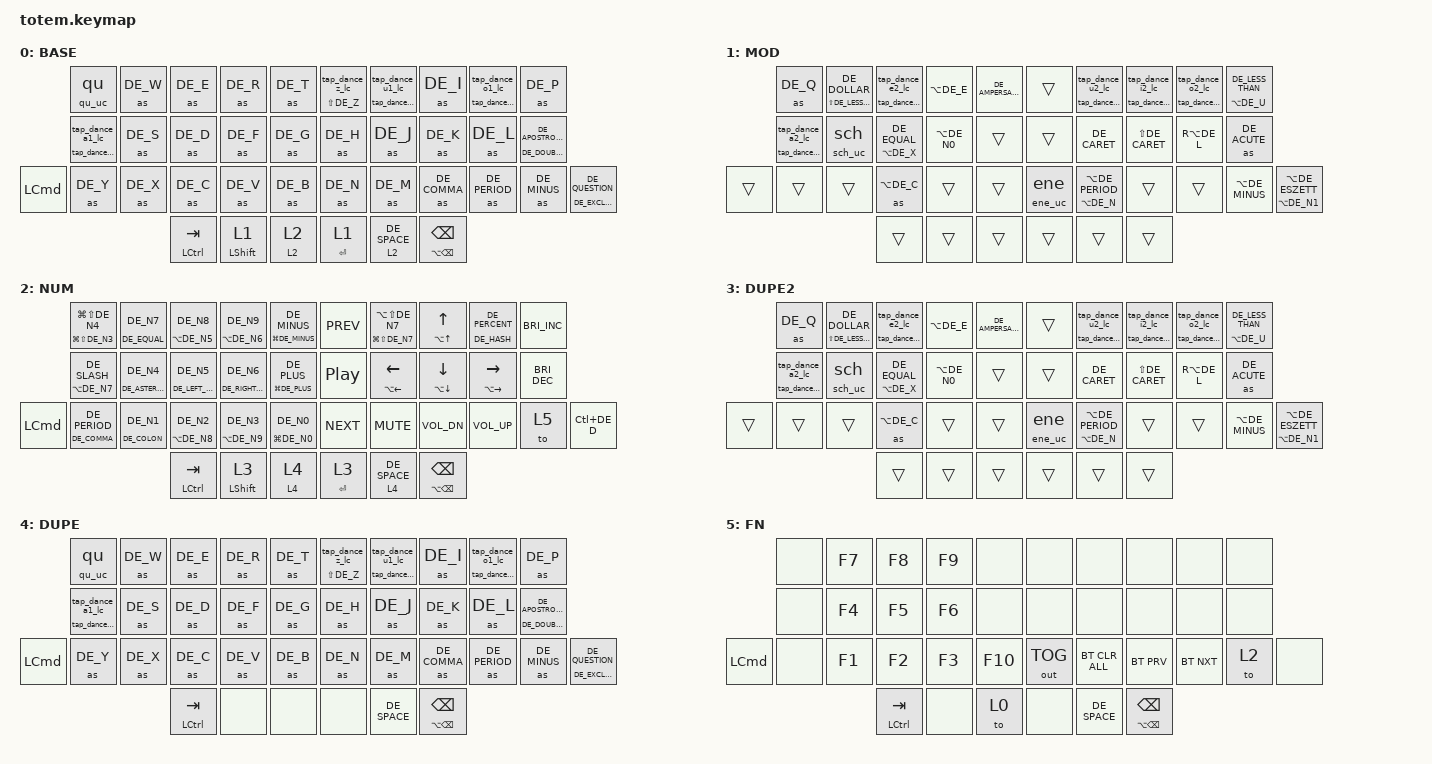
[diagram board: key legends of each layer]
//
//                                                        ▀▀▀▀▀     ▀▀▀▀▀          ▀▀█▀▀
//                                                        ▄▀▀▀▄  ▄  ▄▀▀▀▄  ▄  ▄▀▀▀▄  █  ▄▀▀▀▄
//                                                        █   █  █  █   █  █  █   █  █  █   █
//                                                         ▀▀▀   █   ▀▀▀   █   ▀▀▀   ▀   ▀▀▀
//                                                               █      ▄▄▄█▄▄▄    █   █  
//                                                               ▀      █  █  █     █▄█
//                                                             ▀▀▀▀▀    █  █  █      ▀
//                                                                      ▀  ▀  ▀
//
// ▄▄▄▄▄▄▄▄▄▄▄▄▄▄▄▄▄▄▄▄▄▄▄▄▄▄▄▄▄▄▄▄▄▄▄▄▄▄▄▄▄▄▄▄▄▄▄▄▄▄▄▄▄▄▄▄▄▄▄▄▄▄▄▄▄▄▄▄▄▄▄▄▄▄▄▄▄▄▄▄▄▄▄▄▄▄▄▄▄▄▄▄▄▄▄▄▄▄▄▄▄▄▄▄▄▄▄▄▄▄▄▄▄▄▄▄▄▄▄▄▄▄▄▄▄▄▄▄▄▄▄▄▄▄▄▄▄▄▄▄▄▄▄▄▄▄▄▄▄

#include "keys_de.h"
#include <behaviors.dtsi>
#include <dt-bindings/zmk/bt.h>
#include <dt-bindings/zmk/keys.h>
#include <dt-bindings/zmk/outputs.h>

#define BASE 0
#define NAV  1
#define SYM  2
#define ADJ  3
#define TVP1 4
#define TVP2 5

&mt {
    quick-tap-ms = <100>;
    global-quick-tap;
    flavor = "tap-preferred";
    tapping-term-ms = <170>;
};

/ {
    combos {
        compatible = "zmk,combos";

        escape {
            bindings = <&kp ESCAPE>;
            key-positions = <1 2 3>;
        };

        spotlight {
            bindings = <&kp LG(DE_SPACE)>;
            key-positions = <6 7 8>;
        };

        reload {
            bindings = <&kp LG(DE_R)>;
            key-positions = <32 33 34>;
        };

        control {
            bindings = <&kp LEFT_ALT>;
            key-positions = <11 12>;
        };

        numlayer {
            bindings = <&to 2>;
            key-positions = <22 23 24>;
        };

        homelayer {
            bindings = <&to 0>;
            key-positions = <11 12 13>;
        };

        capslock {
            bindings = <&caps_word>;
            key-positions = <35 36 37>;
        };

        undo {
            bindings = <&kp LG(DE_Z)>;
            key-positions = <16 17 18>;
        };

        redo {
            bindings = <&kp LG(LS(DE_Z))>;
            key-positions = <27 28 29>;
        };

        name {
            bindings = <&name>;
            key-positions = <26 7>;
        };

        id {
            bindings = <&id>;
            key-positions = <22 23>;
        };

        email {
            bindings = <&email>;
            key-positions = <26 18>;
        };

        emailsofa {
            bindings = <&emailsofa>;
            key-positions = <26 18 11>;
        };

        tq {
            bindings = <&tq>;
            key-positions = <0 1>;
        };

        autocite {
            bindings = <&autocite>;
            key-positions = <21 22>;
        };

        the {
            bindings = <&the_the_uc 0 0>;
            key-positions = <4 15>;
        };

        glsxtrlong {
            bindings = <&glsxtrlong>;
            key-positions = <14 18 11>;
        };

        and {
            bindings = <&and_and_uc 0 0>;
            key-positions = <10 26>;
        };

        und {
            bindings = <&und_und_uc 0 0>;
            key-positions = <6 26>;
        };

        copy {
            bindings = <&kp LG(DE_C)>;
            key-positions = <13 12>;
        };

        paste {
            bindings = <&mt LG(LA(LS(DE_V))) LG(DE_V)>;
            key-positions = <24 23>;
        };

        mfg {
            bindings = <&mfg>;
            key-positions = <13 27 14>;
        };

        lg {
            bindings = <&lg>;
            key-positions = <14 18>;
        };
    };

    behaviors {
        to_mo_layer: to_mo_layer {
            compatible = "zmk,behavior-hold-tap";
            label = "TO_MO_LAYER";
            bindings = <&mo>, <&to>;

            #binding-cells = <2>;
            tapping-term-ms = <200>;
            flavor = "balanced";
            hold-while-undecided;
        };

        as_ht: autoshift_hold_tap {
            compatible = "zmk,behavior-hold-tap";
            label = "AUTOSHIFT_HOLD_TAP";
            bindings = <&shift>, <&kp>;

            #binding-cells = <2>;
            tapping-term-ms = <170>;
            flavor = "tap-preferred";
            quick-tap-ms = <100>;
        };

        sticky_lay_kp: sticky_lay_kp {
            compatible = "zmk,behavior-hold-tap";
            label = "STICKY_LAY_KP";
            bindings = <&kp>, <&sl>;

            #binding-cells = <2>;
            tapping-term-ms = <170>;
            quick-tap-ms = <100>;
            flavor = "tap-preferred";
        };

        ene_ene: ene_ene {
            compatible = "zmk,behavior-hold-tap";
            label = "ENE_ENE";
            bindings = <&ene_uc>, <&ene>;

            #binding-cells = <2>;
            tapping-term-ms = <170>;
            quick-tap-ms = <100>;
            flavor = "tap-preferred";
        };

        diaeresis_diaeresis: diaeresis_diaeresis {
            compatible = "zmk,behavior-hold-tap";
            label = "DIAERESIS_DIAERESIS";
            bindings = <&kp>, <&diaereses>;

            #binding-cells = <2>;
            tapping-term-ms = <170>;
            quick-tap-ms = <100>;
            flavor = "tap-preferred";
        };

        qu_qu_uc: qu_qu_uc {
            compatible = "zmk,behavior-hold-tap";
            label = "QU_QU_UC";
            bindings = <&qu_uc>, <&qu>;

            #binding-cells = <2>;
            tapping-term-ms = <170>;
            quick-tap-ms = <100>;
            flavor = "tap-preferred";
        };

        sch_sch_uc: sch_sch_uc {
            compatible = "zmk,behavior-hold-tap";
            label = "SCH_SCH_UC";
            bindings = <&sch_uc>, <&sch>;

            #binding-cells = <2>;
            tapping-term-ms = <170>;
            quick-tap-ms = <100>;
            flavor = "tap-preferred";
        };

        ch_ch_uc: ch_ch_uc {
            compatible = "zmk,behavior-hold-tap";
            label = "CH_CH_UC";
            bindings = <&ch_uc>, <&ch>;

            #binding-cells = <2>;
            tapping-term-ms = <170>;
            quick-tap-ms = <100>;
            flavor = "tap-preferred";
        };

        the_the_uc: the_the_uc {
            compatible = "zmk,behavior-hold-tap";
            label = "THE_THE_UC";
            bindings = <&the_uc>, <&the>;

            #binding-cells = <2>;
            tapping-term-ms = <170>;
            quick-tap-ms = <100>;
            flavor = "tap-preferred";
        };

        and_and_uc: and_and_uc {
            compatible = "zmk,behavior-hold-tap";
            label = "AND_AND_UC";
            bindings = <&and_uc>, <&and>;

            #binding-cells = <2>;
            tapping-term-ms = <170>;
            quick-tap-ms = <100>;
            flavor = "tap-preferred";
        };

        und_und_uc: und_und_uc {
            compatible = "zmk,behavior-hold-tap";
            label = "UND_UND_UC";
            bindings = <&und_uc>, <&und>;

            #binding-cells = <2>;
            tapping-term-ms = <170>;
            quick-tap-ms = <100>;
            flavor = "tap-preferred";
        };

        kp_mo_layer: kp_mo_layer {
            compatible = "zmk,behavior-hold-tap";
            label = "KP_MO_LAYER";
            bindings = <&mo>, <&kp>;

            #binding-cells = <2>;
            tapping-term-ms = <170>;
            flavor = "tap-preferred";
            hold-while-undecided;
            quick-tap-ms = <100>;
        };

        tap_dance_u2_lc: tap_dance_u2_lc {
            compatible = "zmk,behavior-tap-dance";
            label = "TAP_DANCE_U2_LC";
            #binding-cells = <0>;
            bindings = <&u_acute_lc>, <&u_grave_lc>, <&u_circo_lc>;

            tapping-term-ms = <300>;
        };

        sticky_lay_mo_lay: sticky_lay_mo_lay {
            compatible = "zmk,behavior-hold-tap";
            label = "STICKY_LAY_MO_LAY";
            bindings = <&mo>, <&sl>;

            #binding-cells = <2>;
            tapping-term-ms = <170>;
            quick-tap-ms = <100>;
            flavor = "tap-preferred";
        };

        tap_dance_u2_uc: tap_dance_u2_uc {
            compatible = "zmk,behavior-tap-dance";
            label = "TAP_DANCE_U2_UC";
            #binding-cells = <0>;
            bindings = <&u_acute_uc>, <&u_grave_uc>, <&u_circo_uc>;

            tapping-term-ms = <500>;
        };

        tap_dance_u2_combined: tap_dance_u2_combined {
            compatible = "zmk,behavior-hold-tap";
            label = "TAP_DANCE_U2_COMBINED";
            bindings = <&tap_dance_u2_uc>, <&tap_dance_u2_lc>;

            #binding-cells = <2>;
            tapping-term-ms = <170>;
            quick-tap-ms = <100>;
            flavor = "tap-preferred";
        };

        tap_dance_u1_lc: tap_dance_u1_lc {
            compatible = "zmk,behavior-tap-dance";
            label = "TAP_DANCE_U1_LC";
            #binding-cells = <0>;
            bindings = <&kp DE_U>, <&kp DE_U_UMLAUT>;

            tapping-term-ms = <300>;
        };

        tap_dance_u1_uc: tap_dance_u1_uc {
            compatible = "zmk,behavior-tap-dance";
            label = "TAP_DANCE_U1_UC";
            #binding-cells = <0>;
            bindings = <&kp LS(DE_U)>, <&kp LS(DE_U_UMLAUT)>;

            tapping-term-ms = <500>;
        };

        tap_dance_u1_combined: tap_dance_u1_combined {
            compatible = "zmk,behavior-hold-tap";
            label = "TAP_DANCE_U1_COMBINED";
            bindings = <&tap_dance_u1_uc>, <&tap_dance_u1_lc>;

            #binding-cells = <2>;
            tapping-term-ms = <170>;
            quick-tap-ms = <100>;
            flavor = "tap-preferred";
        };

        tap_dance_s_lc: tap_dance_s_lc {
            compatible = "zmk,behavior-tap-dance";
            label = "TAP_DANCE_S_LC";
            #binding-cells = <0>;
            bindings = <&kp DE_S>, <&sch>;

            tapping-term-ms = <300>;
        };

        tap_dance_s_combined: tap_dance_s_combined {
            compatible = "zmk,behavior-hold-tap";
            label = "TAP_DANCE_S_COMBINED";
            bindings = <&tap_dance_s_uc>, <&tap_dance_s_lc>;

            #binding-cells = <2>;
            tapping-term-ms = <170>;
            quick-tap-ms = <100>;
            flavor = "tap-preferred";
        };

        tap_dance_a1_lc: tap_dance_a1_lc {
            compatible = "zmk,behavior-tap-dance";
            label = "TAP_DANCE_A1_LC";
            #binding-cells = <0>;
            bindings = <&kp DE_A>, <&kp DE_A_UMLAUT>;

            tapping-term-ms = <200>;
        };

        tap_dance_a1_uc: tap_dance_a1_uc {
            compatible = "zmk,behavior-tap-dance";
            label = "TAP_DANCE_A1_UC";
            #binding-cells = <0>;
            bindings = <&kp LS(DE_A)>, <&kp LS(DE_A_UMLAUT)>;

            tapping-term-ms = <300>;
        };

        tap_dance_a1_combined: tap_dance_a1_combined {
            compatible = "zmk,behavior-hold-tap";
            label = "TAP_DANCE_A1_COMBINED";
            bindings = <&tap_dance_a1_uc>, <&tap_dance_a1_lc>;

            #binding-cells = <2>;
            tapping-term-ms = <170>;
            quick-tap-ms = <100>;
            flavor = "tap-preferred";
        };

        tap_dance_a2_lc: tap_dance_a2_lc {
            compatible = "zmk,behavior-tap-dance";
            label = "TAP_DANCE_A2_LC";
            #binding-cells = <0>;
            bindings = <&a_acute_lc>, <&a_grave_lc>, <&a_circo_lc>;

            tapping-term-ms = <300>;
        };

        tap_dance_a2_uc: tap_dance_a2_uc {
            compatible = "zmk,behavior-tap-dance";
            label = "TAP_DANCE_A2_UC";
            #binding-cells = <0>;
            bindings = <&a_acute_uc>, <&a_grave_uc>, <&a_circo_uc>;

            tapping-term-ms = <500>;
        };

        tap_dance_a2_combined: tap_dance_a2_combined {
            compatible = "zmk,behavior-hold-tap";
            label = "TAP_DANCE_A2_COMBINED";
            bindings = <&tap_dance_a2_uc>, <&tap_dance_a2_lc>;

            #binding-cells = <2>;
            tapping-term-ms = <170>;
            quick-tap-ms = <100>;
            flavor = "tap-preferred";
        };

        tap_dance_e2_lc: tap_dance_e2_lc {
            compatible = "zmk,behavior-tap-dance";
            label = "TAP_DANCE_E2_LC";
            #binding-cells = <0>;
            bindings =
                <&e_acute_lc>,
                <&e_grave_lc>,
                <&e_circo_lc>,
                <&e_trema_lc>;

            tapping-term-ms = <300>;
        };

        tap_dance_e2_uc: tap_dance_e2_uc {
            compatible = "zmk,behavior-tap-dance";
            label = "TAP_DANCE_E2_UC";
            #binding-cells = <0>;
            bindings =
                <&e_acute_uc>,
                <&e_grave_uc>,
                <&e_circo_uc>,
                <&e_trema_uc>;

            tapping-term-ms = <500>;
        };

        tap_dance_e2_combined: tap_dance_e2_combined {
            compatible = "zmk,behavior-hold-tap";
            label = "TAP_DANCE_E2_COMBINED";
            bindings = <&tap_dance_e2_uc>, <&tap_dance_e2_lc>;

            #binding-cells = <2>;
            tapping-term-ms = <170>;
            quick-tap-ms = <100>;
            flavor = "tap-preferred";
        };

        tap_dance_i2_lc: tap_dance_i2_lc {
            compatible = "zmk,behavior-tap-dance";
            label = "TAP_DANCE_I2_LC";
            #binding-cells = <0>;
            bindings =
                <&i_acute_lc>,
                <&i_grave_lc>,
                <&i_circo_lc>,
                <&i_trema_lc>;

            tapping-term-ms = <300>;
        };

        tap_dance_i2_uc: tap_dance_i2_uc {
            compatible = "zmk,behavior-tap-dance";
            label = "TAP_DANCE_I2_UC";
            #binding-cells = <0>;
            bindings =
                <&i_acute_uc>,
                <&i_grave_uc>,
                <&i_circo_uc>,
                <&i_trema_uc>;

            tapping-term-ms = <500>;
        };

        tap_dance_i2_combined: tap_dance_i2_combined {
            compatible = "zmk,behavior-hold-tap";
            label = "TAP_DANCE_I2_COMBINED";
            bindings = <&tap_dance_i2_uc>, <&tap_dance_i2_lc>;

            #binding-cells = <2>;
            tapping-term-ms = <170>;
            quick-tap-ms = <100>;
            flavor = "tap-preferred";
        };

        tap_dance_o1_lc: tap_dance_o1_lc {
            compatible = "zmk,behavior-tap-dance";
            label = "TAP_DANCE_O1_LC";
            #binding-cells = <0>;
            bindings = <&kp DE_O>, <&kp DE_O_UMLAUT>;

            tapping-term-ms = <300>;
        };

        tap_dance_o1_uc: tap_dance_o1_uc {
            compatible = "zmk,behavior-tap-dance";
            label = "TAP_DANCE_O1_UC";
            #binding-cells = <0>;
            bindings = <&kp LS(DE_O)>, <&kp LS(DE_O_UMLAUT)>;

            tapping-term-ms = <500>;
        };

        tap_dance_o1_combined: tap_dance_o1_combined {
            compatible = "zmk,behavior-hold-tap";
            label = "TAP_DANCE_O1_COMBINED";
            bindings = <&tap_dance_o1_uc>, <&tap_dance_o1_lc>;

            #binding-cells = <2>;
            tapping-term-ms = <170>;
            quick-tap-ms = <100>;
            flavor = "tap-preferred";
        };

        tap_dance_o2_lc: tap_dance_o2_lc {
            compatible = "zmk,behavior-tap-dance";
            label = "TAP_DANCE_O2_LC";
            #binding-cells = <0>;
            bindings = <&o_acute_lc>, <&o_grave_lc>, <&o_circo_lc>;

            tapping-term-ms = <300>;
        };

        tap_dance_o2_uc: tap_dance_o2_uc {
            compatible = "zmk,behavior-tap-dance";
            label = "TAP_DANCE_O2_UC";
            #binding-cells = <0>;
            bindings = <&o_acute_uc>, <&o_grave_uc>, <&o_circo_uc>;

            tapping-term-ms = <500>;
        };

        tap_dance_s_uc: tap_dance_s_uc {
            compatible = "zmk,behavior-tap-dance";
            label = "TAP_DANCE_S_UC";
            #binding-cells = <0>;
            bindings = <&kp LS(DE_S)>, <&sch_uc>;

            tapping-term-ms = <500>;
        };

        tap_dance_e1_lc: tap_dance_e1_lc {
            compatible = "zmk,behavior-tap-dance";
            label = "TAP_DANCE_E1_LC";
            #binding-cells = <0>;
            bindings = <&kp DE_E>, <&e_acute_lc>;

            tapping-term-ms = <300>;
        };

        tap_dance_e1_uc: tap_dance_e1_uc {
            compatible = "zmk,behavior-tap-dance";
            label = "TAP_DANCE_E1_UC";
            #binding-cells = <0>;
            bindings = <&kp LS(DE_E)>, <&e_acute_uc>;

            tapping-term-ms = <500>;
        };

        tap_dance_e1_combined: tap_dance_e1_combined {
            compatible = "zmk,behavior-hold-tap";
            label = "TAP_DANCE_E1_COMBINED";
            bindings = <&tap_dance_e1_uc>, <&tap_dance_e1_lc>;

            #binding-cells = <2>;
            tapping-term-ms = <170>;
            quick-tap-ms = <100>;
            flavor = "tap-preferred";
        };

        tap_dance_i1_lc: tap_dance_i1_lc {
            compatible = "zmk,behavior-tap-dance";
            label = "TAP_DANCE_I1_LC";
            #binding-cells = <0>;
            bindings = <&kp DE_I>, <&i_acute_lc>;

            tapping-term-ms = <300>;
        };

        tap_dance_i1_uc: tap_dance_i1_uc {
            compatible = "zmk,behavior-tap-dance";
            label = "TAP_DANCE_I1_UC";
            #binding-cells = <0>;
            bindings = <&kp LS(DE_I)>, <&i_acute_uc>;

            tapping-term-ms = <500>;
        };

        tap_dance_i1_combined: tap_dance_i1_combined {
            compatible = "zmk,behavior-hold-tap";
            label = "TAP_DANCE_I1_COMBINED";
            bindings = <&tap_dance_i1_uc>, <&tap_dance_i1_lc>;

            #binding-cells = <2>;
            tapping-term-ms = <170>;
            quick-tap-ms = <100>;
            flavor = "tap-preferred";
        };

        tap_dance_z_lc: tap_dance_z_lc {
            compatible = "zmk,behavior-tap-dance";
            label = "TAP_DANCE_Z_LC";
            #binding-cells = <0>;
            bindings = <&kp DE_Z>, <&kp DE_ESZETT>;

            tapping-term-ms = <300>;
        };

        tap_dance_z_combined: tap_dance_z_combined {
            compatible = "zmk,behavior-hold-tap";
            label = "TAP_DANCE_Z_COMBINED";
            bindings = <&kp>, <&tap_dance_z_lc>;

            #binding-cells = <2>;
            tapping-term-ms = <170>;
            quick-tap-ms = <100>;
            flavor = "tap-preferred";
        };

        tap_dance_o2_combined: tap_dance_o2_combined {
            compatible = "zmk,behavior-hold-tap";
            label = "TAP_DANCE_O2_COMBINED";
            bindings = <&tap_dance_o2_uc>, <&tap_dance_o2_lc>;

            #binding-cells = <2>;
            tapping-term-ms = <170>;
            quick-tap-ms = <100>;
            flavor = "tap-preferred";
        };

        tap_dance_n1_lc: tap_dance_n1_lc {
            compatible = "zmk,behavior-tap-dance";
            label = "TAP_DANCE_N1_LC";
            #binding-cells = <0>;
            bindings = <&kp DE_N>, <&ene>;

            tapping-term-ms = <300>;
        };

        tap_dance_n1_uc: tap_dance_n1_uc {
            compatible = "zmk,behavior-tap-dance";
            label = "TAP_DANCE_N1_UC";
            #binding-cells = <0>;
            bindings = <&kp LS(DE_N)>, <&ene_uc>;

            tapping-term-ms = <500>;
        };

        tap_dance_n1_combined: tap_dance_n1_combined {
            compatible = "zmk,behavior-hold-tap";
            label = "TAP_DANCE_N1_COMBINED";
            bindings = <&tap_dance_n1_uc>, <&tap_dance_n1_lc>;

            #binding-cells = <2>;
            tapping-term-ms = <170>;
            quick-tap-ms = <100>;
            flavor = "tap-preferred";
        };

        sticky_sk_kp: sticky_sk_kp {
            compatible = "zmk,behavior-hold-tap";
            label = "STICKY_SK_KP";
            bindings = <&kp>, <&sk>;

            #binding-cells = <2>;
            tapping-term-ms = <170>;
            quick-tap-ms = <100>;
            flavor = "tap-preferred";
        };

        tap_dance_L1_enter: tap_dance_L1_enter {
            compatible = "zmk,behavior-tap-dance";
            label = "TAP_DANCE_L1_ENTER";
            #binding-cells = <0>;
            bindings = <&sl 1>, <&kp ENTER>;

            tapping-term-ms = <300>;
        };

        tap_dance_L3_enter: tap_dance_L3_enter {
            compatible = "zmk,behavior-tap-dance";
            label = "TAP_DANCE_L3_ENTER";
            #binding-cells = <0>;
            bindings = <&sl 3>, <&kp ENTER>;

            tapping-term-ms = <300>;
        };
    };

    macros {
        name: name {
            compatible = "zmk,behavior-macro";
            #binding-cells = <0>;
            bindings = <&kp LS(DE_N) &kp DE_I &kp DE_K &kp DE_L &kp DE_A &kp DE_S &kp DE_SPACE &kp LS(DE_L) &kp DE_O &kp DE_B &kp DE_M &kp DE_A &kp DE_Y &kp DE_R>;
            label = "NAME";
        };

        ene: ene {
            compatible = "zmk,behavior-macro";
            #binding-cells = <0>;
            bindings = <&kp LA(DE_N) &kp DE_N>;
            label = "ENE";
        };

        id: id {
            compatible = "zmk,behavior-macro";
            #binding-cells = <0>;
            bindings = <&kp LS(DE_N) &kp DE_N8 &kp LS(DE_S) &kp LS(DE_T) &kp DE_MINUS &kp LS(DE_X) &kp DE_N6 &kp DE_N8>;
            label = "ID";
        };

        emailsofa: emailsofa {
            compatible = "zmk,behavior-macro";
            #binding-cells = <0>;
            bindings = <&kp DE_N &kp DE_I &kp DE_K &kp DE_L &kp DE_A &kp DE_S &kp DE_PERIOD &kp DE_L &kp DE_O &kp DE_B &kp DE_M &kp DE_A &kp DE_Y &kp DE_R &kp LA(DE_L) &kp DE_S &kp DE_O &kp DE_F &kp DE_A &kp DE_T &kp DE_U &kp DE_T &kp DE_O &kp DE_R &kp DE_PERIOD &kp DE_C &kp DE_O &kp DE_M>;
            label = "EMAILSOFA";
        };

        shift: shift {
            compatible = "zmk,behavior-macro-one-param";
            #binding-cells = <1>;
            bindings =
                <&macro_press>,
                <&kp LEFT_SHIFT>,
                <&macro_tap>,
                <&macro_param_1to1 &kp MACRO_PLACEHOLDER>,
                <&macro_release>,
                <&kp LEFT_SHIFT>;

            label = "SHIFT";
        };

        as: as {
            compatible = "zmk,behavior-macro-one-param";
            #binding-cells = <1>;
            bindings =
                <&macro_press>,
                <&macro_param_1to1 &macro_param_1to2 &as_ht MACRO_PLACEHOLDER MACRO_PLACEHOLDER>,
                <&macro_pause_for_release>,
                <&macro_release>,
                <&macro_param_1to1 &macro_param_1to2 &as_ht MACRO_PLACEHOLDER MACRO_PLACEHOLDER>;

            label = "AS";
        };

        diaereses: diareses {
            compatible = "zmk,behavior-macro";
            #binding-cells = <0>;
            bindings = <&kp LA(DE_U) &kp DE_I>;
            label = "DIARESES";
        };

        email: email {
            compatible = "zmk,behavior-macro";
            #binding-cells = <0>;
            bindings = <&kp DE_L &kp DE_O &kp DE_B &kp DE_M &kp DE_A &kp DE_Y &kp DE_R &kp DE_PERIOD &kp DE_N &kp LA(DE_L) &kp DE_G &kp DE_M &kp DE_A &kp DE_I &kp DE_L &kp DE_PERIOD &kp DE_C &kp DE_O &kp DE_M>;
            label = "EMAIL";
        };

        tq: tq {
            compatible = "zmk,behavior-macro";
            #binding-cells = <0>;
            bindings = <&kp LA(LS(DE_N7)) &kp DE_T &kp DE_Q &kp LA(DE_N8) &kp LA(DE_N9) &kp LEFT_ARROW>;
            label = "TQ";
        };

        autocite: autocite {
            compatible = "zmk,behavior-macro";
            #binding-cells = <0>;
            bindings = <&kp LA(LS(DE_N7)) &kp DE_A &kp DE_U &kp DE_T &kp DE_O &kp DE_C &kp DE_I &kp DE_T &kp DE_E &kp LA(DE_N5) &kp LA(DE_N6) &kp LA(DE_N8) &kp LA(DE_N9) &kp LEFT_ARROW &kp LEFT_ARROW &kp LEFT_ARROW>;
            label = "AUTOCITE";
        };

        qu: qu {
            compatible = "zmk,behavior-macro";
            #binding-cells = <0>;
            bindings = <&kp DE_Q &kp DE_U>;
            label = "QU";
        };

        qu_uc: qu_uc {
            compatible = "zmk,behavior-macro";
            #binding-cells = <0>;
            bindings = <&kp LS(DE_Q) &kp DE_U>;
            label = "QU_UC";
        };

        sch: sch {
            compatible = "zmk,behavior-macro";
            #binding-cells = <0>;
            bindings = <&kp DE_S &kp DE_C &kp DE_H>;
            label = "SCH";
        };

        sch_uc: sch_uc {
            compatible = "zmk,behavior-macro";
            #binding-cells = <0>;
            bindings = <&kp LS(DE_S) &kp DE_C &kp DE_H>;
            label = "SCH_UC";
        };

        ch: ch {
            compatible = "zmk,behavior-macro";
            #binding-cells = <0>;
            bindings = <&kp DE_C &kp DE_H>;
            label = "CH";
        };

        ch_uc: ch_uc {
            compatible = "zmk,behavior-macro";
            #binding-cells = <0>;
            bindings = <&kp LS(DE_C) &kp DE_H>;
            label = "CH_UC";
        };

        the: the {
            compatible = "zmk,behavior-macro";
            #binding-cells = <0>;
            bindings = <&kp DE_T &kp DE_H &kp DE_E>;
            label = "THE";
        };

        the_uc: the_uc {
            compatible = "zmk,behavior-macro";
            #binding-cells = <0>;
            bindings = <&kp LS(DE_T) &kp DE_H &kp DE_E>;
            label = "THE_UC";
        };

        glsxtrlong: glsxtrlong {
            compatible = "zmk,behavior-macro";
            #binding-cells = <0>;
            bindings = <&kp LA(LS(DE_N7)) &kp DE_G &kp DE_L &kp DE_S &kp DE_E &kp DE_X &kp DE_T &kp DE_R &kp DE_A &kp DE_L &kp DE_O &kp DE_N &kp DE_G &kp LA(DE_N8) &kp LA(DE_N9) &kp LEFT_ARROW>;
            label = "GLSXTRLONG";
        };

        and: and {
            compatible = "zmk,behavior-macro";
            #binding-cells = <0>;
            bindings = <&kp DE_A &kp DE_N &kp DE_D>;
            label = "AND";
        };

        and_uc: and_uc {
            compatible = "zmk,behavior-macro";
            #binding-cells = <0>;
            bindings = <&kp LS(DE_A) &kp DE_N &kp DE_D>;
            label = "AND_UC";
        };

        und: und {
            compatible = "zmk,behavior-macro";
            #binding-cells = <0>;
            bindings = <&kp DE_U &kp DE_N &kp DE_D>;
            label = "UND";
        };

        und_uc: und_uc {
            compatible = "zmk,behavior-macro";
            #binding-cells = <0>;
            bindings = <&kp LS(DE_U) &kp DE_N &kp DE_D>;
            label = "UND_UC";
        };

        mfg: mfg {
            compatible = "zmk,behavior-macro";
            #binding-cells = <0>;
            bindings = <&kp LS(DE_M) &kp DE_I &kp DE_T &kp DE_SPACE &kp DE_F &kp DE_R &kp DE_E &kp DE_U &kp DE_N &kp DE_D &kp DE_L &kp DE_I &kp DE_C &kp DE_H &kp DE_E &kp DE_N &kp DE_SPACE &kp LS(DE_G) &kp DE_R &kp DE_U_UMLAUT &kp DE_ESZETT &kp DE_E &kp DE_N>;
            label = "MFG";
        };

        lg: lg {
            compatible = "zmk,behavior-macro";
            #binding-cells = <0>;
            bindings = <&kp LS(DE_L) &kp DE_I &kp DE_E &kp DE_B &kp DE_E &kp DE_SPACE &kp LS(DE_G) &kp DE_R &kp DE_U_UMLAUT &kp DE_ESZETT &kp DE_E>;
            label = "LG";
        };

        u_acute_lc: u_acute {
            compatible = "zmk,behavior-macro";
            #binding-cells = <0>;
            bindings = <&kp DE_ACUTE &kp DE_U>;
            label = "U_ACUTE";
        };

        u_grave_lc: u_grave {
            compatible = "zmk,behavior-macro";
            #binding-cells = <0>;
            bindings = <&kp LS(DE_ACUTE) &kp DE_U>;
            label = "U_GRAVE";
        };

        u_acute_uc: u_acute_uc {
            compatible = "zmk,behavior-macro";
            #binding-cells = <0>;
            bindings = <&kp DE_ACUTE &kp LS(DE_U)>;
            label = "U_ACUTE_UC";
        };

        u_grave_uc: u_grave_uc {
            compatible = "zmk,behavior-macro";
            #binding-cells = <0>;
            bindings = <&kp LS(DE_ACUTE) &kp LS(DE_U)>;
            label = "U_GRAVE_UC";
        };

        u_circo_lc: u_circo_lc {
            compatible = "zmk,behavior-macro";
            #binding-cells = <0>;
            bindings = <&kp DE_LESS_THAN &kp DE_U>;
            label = "U_CIRCO_LC";
        };

        u_circo_uc: u_circo_uc {
            compatible = "zmk,behavior-macro";
            #binding-cells = <0>;
            bindings = <&kp DE_LESS_THAN &kp LS(DE_U)>;
            label = "U_CIRCO_UC";
        };

        a_acute_lc: a_acute_lc {
            compatible = "zmk,behavior-macro";
            #binding-cells = <0>;
            bindings = <&kp DE_ACUTE &kp DE_A>;
            label = "A_ACUTE_LC";
        };

        a_grave_lc: a_grave_lc {
            compatible = "zmk,behavior-macro";
            #binding-cells = <0>;
            bindings = <&kp LS(DE_ACUTE) &kp DE_A>;
            label = "A_GRAVE_LC";
        };

        a_circo_lc: a_circo_lc {
            compatible = "zmk,behavior-macro";
            #binding-cells = <0>;
            bindings = <&kp DE_LESS_THAN &kp DE_A>;
            label = "A_CIRCO_LC";
        };

        a_acute_uc: a_acute_uc {
            compatible = "zmk,behavior-macro";
            #binding-cells = <0>;
            bindings = <&kp DE_ACUTE &kp LS(DE_A)>;
            label = "A_ACUTE_UC";
        };

        a_grave_uc: a_grave_uc {
            compatible = "zmk,behavior-macro";
            #binding-cells = <0>;
            bindings = <&kp LS(DE_ACUTE) &kp LS(DE_A)>;
            label = "A_GRAVE_UC";
        };

        a_circo_uc: a_circo_uc {
            compatible = "zmk,behavior-macro";
            #binding-cells = <0>;
            bindings = <&kp DE_LESS_THAN &kp LS(DE_A)>;
            label = "A_CIRCO_UC";
        };

        e_acute_lc: e_acute_lc {
            compatible = "zmk,behavior-macro";
            #binding-cells = <0>;
            bindings = <&kp DE_ACUTE &kp DE_E>;
            label = "E_ACUTE_LC";
        };

        e_grave_lc: e_grave_lc {
            compatible = "zmk,behavior-macro";
            #binding-cells = <0>;
            bindings = <&kp LS(DE_ACUTE) &kp DE_E>;
            label = "E_GRAVE_LC";
        };

        e_circo_lc: e_circo_lc {
            compatible = "zmk,behavior-macro";
            #binding-cells = <0>;
            bindings = <&kp DE_LESS_THAN &kp DE_E>;
            label = "E_CIRCO_LC";
        };

        e_trema_lc: e_trema_lc {
            compatible = "zmk,behavior-macro";
            #binding-cells = <0>;
            bindings = <&kp LA(DE_U) &kp DE_E>;
            label = "E_TREMA_LC";
        };

        e_acute_uc: e_acute_uc {
            compatible = "zmk,behavior-macro";
            #binding-cells = <0>;
            bindings = <&kp DE_ACUTE &kp LS(DE_E)>;
            label = "E_ACUTE_UC";
        };

        e_grave_uc: e_grave_uc {
            compatible = "zmk,behavior-macro";
            #binding-cells = <0>;
            bindings = <&kp LS(DE_ACUTE) &kp LS(DE_E)>;
            label = "E_GRAVE_UC";
        };

        e_circo_uc: e_circo_uc {
            compatible = "zmk,behavior-macro";
            #binding-cells = <0>;
            bindings = <&kp DE_LESS_THAN &kp LS(DE_E)>;
            label = "E_CIRCO_UC";
        };

        e_trema_uc: e_trema_uc {
            compatible = "zmk,behavior-macro";
            #binding-cells = <0>;
            bindings = <&kp LA(DE_U) &kp LS(DE_E)>;
            label = "E_TREMA_UC";
        };

        i_acute_lc: i_acute_lc {
            compatible = "zmk,behavior-macro";
            #binding-cells = <0>;
            bindings = <&kp DE_ACUTE &kp DE_I>;
            label = "I_ACUTE_LC";
        };

        i_grave_lc: i_grave_lc {
            compatible = "zmk,behavior-macro";
            #binding-cells = <0>;
            bindings = <&kp LS(DE_ACUTE) &kp DE_I>;
            label = "I_GRAVE_LC";
        };

        i_circo_lc: i_circo_lc {
            compatible = "zmk,behavior-macro";
            #binding-cells = <0>;
            bindings = <&kp DE_LESS_THAN &kp DE_I>;
            label = "I_CIRCO_LC";
        };

        i_trema_lc: i_trema_lc {
            compatible = "zmk,behavior-macro";
            #binding-cells = <0>;
            bindings = <&kp LA(DE_U) &kp DE_I>;
            label = "I_TREMA_LC";
        };

        i_acute_uc: i_acute_uc {
            compatible = "zmk,behavior-macro";
            #binding-cells = <0>;
            bindings = <&kp DE_ACUTE &kp LS(DE_I)>;
            label = "I_ACUTE_UC";
        };

        i_grave_uc: i_grave_uc {
            compatible = "zmk,behavior-macro";
            #binding-cells = <0>;
            bindings = <&kp LS(DE_ACUTE) &kp LS(DE_I)>;
            label = "I_GRAVE_UC";
        };

        i_circo_uc: i_circo_uc {
            compatible = "zmk,behavior-macro";
            #binding-cells = <0>;
            bindings = <&kp DE_LESS_THAN &kp LS(DE_I)>;
            label = "I_CIRCO_UC";
        };

        i_trema_uc: i_trema_uc {
            compatible = "zmk,behavior-macro";
            #binding-cells = <0>;
            bindings = <&kp LA(DE_U) &kp LS(DE_I)>;
            label = "I_TREMA_UC";
        };

        o_acute_lc: o_acute_lc {
            compatible = "zmk,behavior-macro";
            #binding-cells = <0>;
            bindings = <&kp DE_ACUTE &kp DE_O>;
            label = "O_ACUTE_LC";
        };

        o_grave_lc: o_grave_lc {
            compatible = "zmk,behavior-macro";
            #binding-cells = <0>;
            bindings = <&kp LS(DE_ACUTE) &kp DE_O>;
            label = "O_GRAVE_LC";
        };

        o_circo_lc: o_circo_lc {
            compatible = "zmk,behavior-macro";
            #binding-cells = <0>;
            bindings = <&kp DE_LESS_THAN &kp DE_O>;
            label = "O_CIRCO_LC";
        };

        o_acute_uc: o_acute_uc {
            compatible = "zmk,behavior-macro";
            #binding-cells = <0>;
            bindings = <&kp DE_ACUTE &kp LS(DE_O)>;
            label = "O_ACUTE_UC";
        };

        o_grave_uc: o_grave_uc {
            compatible = "zmk,behavior-macro";
            #binding-cells = <0>;
            bindings = <&kp LS(DE_ACUTE) &kp LS(DE_O)>;
            label = "O_GRAVE_UC";
        };

        o_circo_uc: o_circo_uc {
            compatible = "zmk,behavior-macro";
            #binding-cells = <0>;
            bindings = <&kp DE_LESS_THAN &kp LS(DE_O)>;
            label = "O_CIRCO_UC";
        };

        ene_uc: ene_uc {
            compatible = "zmk,behavior-macro";
            #binding-cells = <0>;
            bindings = <&kp LA(DE_N) &kp LS(DE_N)>;
            label = "ENE_UC";
        };
    };

    keymap {
        compatible = "zmk,keymap";

        // ▄▄▄▄▄▄▄▄▄▄▄▄▄▄▄▄▄▄▄▄▄▄▄▄▄▄▄▄▄▄▄▄▄▄▄▄▄▄▄▄▄▄▄▄▄▄▄▄▄▄▄▄▄▄▄▄▄▄▄▄▄▄▄▄▄▄▄▄▄▄▄▄▄▄▄▄▄▄▄▄▄▄▄▄▄▄▄▄▄▄▄▄▄▄▄▄▄▄▄▄▄▄▄▄▄▄▄▄▄▄▄▄▄▄▄▄▄▄▄▄▄▄▄▄▄▄▄▄▄▄▄▄▄▄▄▄▄▄▄▄▄▄▄▄▄▄▄▄▄

        base_layer {
            // ┏━━━━━━━━━━━━━━━━━━━━━━━━━━━━━━━━━━━━━━━┓

            label = "BASE";

            // ┗━━━━━━━━━━━━━━━━━━━━━━━━━━━━━━━━━━━━━━━┛
            //             ┏━━━━━━━━━━━┳━━━━━━━━━━━┳━━━━━━━━━━━┳━━━━━━━━━━━┳━━━━━━━━━━━┓   ┏━━━━━━━━━━━┳━━━━━━━━━━━┳━━━━━━━━━━━┳━━━━━━━━━━━┳━━━━━━━━━━━┓
            //             ┃     Q     ┃     W     ┃     F     ┃     P     ┃     G     ┃   ┃     J     ┃     L     ┃     U     ┃     Y     ┃     ;     ┃
            //             ┣━━━━━━━━━━━╋━━━━━━━━━━━╋━━━━━━━━━━━╋━━━━━━━━━━━╋━━━━━━━━━━━┫   ┣━━━━━━━━━━━╋━━━━━━━━━━━╋━━━━━━━━━━━╋━━━━━━━━━━━╋━━━━━━━━━━━┫
            //             ┃     A     ┃     R     ┃     S     ┃     T     ┃     D     ┃   ┃     H     ┃     N     ┃     E     ┃     I     ┃     O     ┃
            // ┏━━━━━━━━━━━╋━━━━━━━━━━━╋━━━━━━━━━━━╋━━━━━━━━━━━╋━━━━━━━━━━━╋━━━━━━━━━━━┫   ┣━━━━━━━━━━━╋━━━━━━━━━━━╋━━━━━━━━━━━╋━━━━━━━━━━━╋━━━━━━━━━━━╋━━━━━━━━━━━┓
            // ┃     Q     ┃     Z     ┃     X     ┃     C     ┃     V     ┃     B     ┃   ┃     K     ┃     M     ┃     ,     ┃     .     ┃     /     ┃     \     ┃
            // ┗━━━━━━━━━━━┻━━━━━━━━━━━┻━━━━━━━━━━━╋━━━━━━━━━━━╋━━━━━━━━━━━╋━━━━━━━━━━━┫   ┣━━━━━━━━━━━╋━━━━━━━━━━━╋━━━━━━━━━━━╋━━━━━━━━━━━┻━━━━━━━━━━━┻━━━━━━━━━━━┛
            //                                     ┃    DEL    ┃    TAB    ┃    SPC    ┃   ┃   ENTER   ┃           ┃   BSPC    ┃
            //                                     ┗━━━━━━━━━━━┻━━━━━━━━━━━┻━━━━━━━━━━━┛   ┗━━━━━━━━━━━┻━━━━━━━━━━━┻━━━━━━━━━━━┛

            bindings = <
                  &qu_qu_uc 0 0               &as DE_W  &as DE_E              &as DE_R                     &as DE_T                  &tap_dance_z_combined LS(DE_Z) 0  &tap_dance_u1_combined 0 0  &as DE_I                     &tap_dance_o1_combined 0 0  &as DE_P
                  &tap_dance_a1_combined 0 0  &as DE_S  &as DE_D              &as DE_F                     &as DE_G                  &as DE_H                          &as DE_J                    &as DE_K                     &as DE_L                    &mt DE_DOUBLE_QUOTES DE_APOSTROPHE
&kp LEFT_COMMAND  &as DE_Y                    &as DE_X  &as DE_C              &as DE_V                     &as DE_B                  &as DE_N                          &as DE_M                    &as DE_COMMA                 &as DE_PERIOD               &as DE_MINUS                        &mt DE_EXCLAMATION DE_QUESTION
                                                        &mt LEFT_CONTROL TAB  &sticky_lay_kp LEFT_SHIFT 1  &sticky_lay_mo_lay 2 2    &sticky_lay_kp ENTER 1            &kp_mo_layer 2 DE_SPACE     &mt LA(BACKSPACE) BACKSPACE
            >;
        };

        mod_layer {
            bindings = <
        &as DE_Q                    &mt LS(DE_LESS_THAN) DE_DOLLAR  &tap_dance_e2_combined 0 0  &kp LA(DE_E)   &kp DE_AMPERSAND    &trans        &tap_dance_u2_combined 0 0  &tap_dance_i2_combined 0 0  &tap_dance_o2_combined 0 0  &mt LA(DE_U) DE_LESS_THAN
        &tap_dance_a2_combined 0 0  &sch_sch_uc 0 0                 &mt LA(DE_X) DE_EQUAL       &kp LA(DE_N0)  &trans              &trans        &kp DE_CARET                &kp LS(DE_CARET)            &kp RA(DE_L)                &as DE_ACUTE
&trans  &trans                      &trans                          &as LA(DE_C)                &trans         &trans              &ene_ene 0 0  &mt LA(DE_N) LA(DE_PERIOD)  &trans                      &trans                      &kp LA(DE_MINUS)           &mt LA(DE_N1) LA(DE_ESZETT)
                                                                    &trans                      &trans         &trans              &trans        &trans                      &trans
            >;

            label = "MOD";
        };

        number_layer {
            label = "NUM";
            bindings = <
                  &mt LG(LS(DE_N3)) LG(LS(DE_N4))  &mt DE_EQUAL DE_N7     &mt LA(DE_N5) DE_N8            &mt LA(DE_N6) DE_N9             &mt LG(DE_MINUS) DE_MINUS    &kp C_PREV              &mt LG(LS(DE_N7)) LA(LS(DE_N7))  &mt LA(UP_ARROW) UP_ARROW      &mt DE_HASH DE_PERCENT           &kp C_BRIGHTNESS_INC
                  &mt LA(DE_N7) DE_SLASH           &mt DE_ASTERISK DE_N4  &mt DE_LEFT_PARENTHESIS DE_N5  &mt DE_RIGHT_PARENTHESIS DE_N6  &mt LG(DE_PLUS) DE_PLUS      &kp C_PP                &mt LA(LEFT_ARROW) LEFT_ARROW    &mt LA(DOWN_ARROW) DOWN_ARROW  &mt LA(RIGHT_ARROW) RIGHT_ARROW  &kp C_BRIGHTNESS_DEC
&kp LEFT_COMMAND  &mt DE_COMMA DE_PERIOD           &mt DE_COLON DE_N1     &mt LA(DE_N8) DE_N2            &mt LA(DE_N9) DE_N3             &mt LG(DE_N0) DE_N0          &kp C_NEXT              &kp K_MUTE                       &kp C_VOL_DN                   &kp C_VOL_UP                     &to 5                 &kp LC(DE_D)
                                                                          &mt LEFT_CONTROL TAB           &sticky_lay_kp LEFT_SHIFT 3     &sticky_lay_mo_lay 4 4       &sticky_lay_kp ENTER 3  &kp_mo_layer 4 DE_SPACE          &mt LA(BACKSPACE) BACKSPACE
            >;
        };

        mod_dupe {
            label = "DUPE2";
            bindings = <
        &as DE_Q                    &mt LS(DE_LESS_THAN) DE_DOLLAR  &tap_dance_e2_combined 0 0  &kp LA(DE_E)   &kp DE_AMPERSAND    &trans        &tap_dance_u2_combined 0 0  &tap_dance_i2_combined 0 0  &tap_dance_o2_combined 0 0  &mt LA(DE_U) DE_LESS_THAN
        &tap_dance_a2_combined 0 0  &sch_sch_uc 0 0                 &mt LA(DE_X) DE_EQUAL       &kp LA(DE_N0)  &trans              &trans        &kp DE_CARET                &kp LS(DE_CARET)            &kp RA(DE_L)                &as DE_ACUTE
&trans  &trans                      &trans                          &as LA(DE_C)                &trans         &trans              &ene_ene 0 0  &mt LA(DE_N) LA(DE_PERIOD)  &trans                      &trans                      &kp LA(DE_MINUS)           &mt LA(DE_N1) LA(DE_ESZETT)
                                                                    &trans                      &trans         &trans              &trans        &trans                      &trans
            >;
        };

        base_dupe {
            label = "DUPE";
            bindings = <
                  &qu_qu_uc 0 0               &as DE_W  &as DE_E              &as DE_R  &as DE_T    &tap_dance_z_combined LS(DE_Z) 0  &tap_dance_u1_combined 0 0  &as DE_I                     &tap_dance_o1_combined 0 0  &as DE_P
                  &tap_dance_a1_combined 0 0  &as DE_S  &as DE_D              &as DE_F  &as DE_G    &as DE_H                          &as DE_J                    &as DE_K                     &as DE_L                    &mt DE_DOUBLE_QUOTES DE_APOSTROPHE
&kp LEFT_COMMAND  &as DE_Y                    &as DE_X  &as DE_C              &as DE_V  &as DE_B    &as DE_N                          &as DE_M                    &as DE_COMMA                 &as DE_PERIOD               &as DE_MINUS                        &mt DE_EXCLAMATION DE_QUESTION
                                                        &mt LEFT_CONTROL TAB  &none     &none       &none                             &kp DE_SPACE                &mt LA(BACKSPACE) BACKSPACE
            >;
        };

        function_layer {
            label = "FN";
            bindings = <
                  &none  &kp F7  &kp F8                &kp F9  &none      &none         &none           &none                        &none       &none
                  &none  &kp F4  &kp F5                &kp F6  &none      &none         &none           &none                        &none       &none
&kp LEFT_COMMAND  &none  &kp F1  &kp F2                &kp F3  &kp F10    &out OUT_TOG  &bt BT_CLR_ALL  &bt BT_PRV                   &bt BT_NXT  &to 2  &none
                                 &mt LEFT_CONTROL TAB  &none   &to 0      &none         &kp DE_SPACE    &mt LA(BACKSPACE) BACKSPACE
            >;
        };
    };
};
